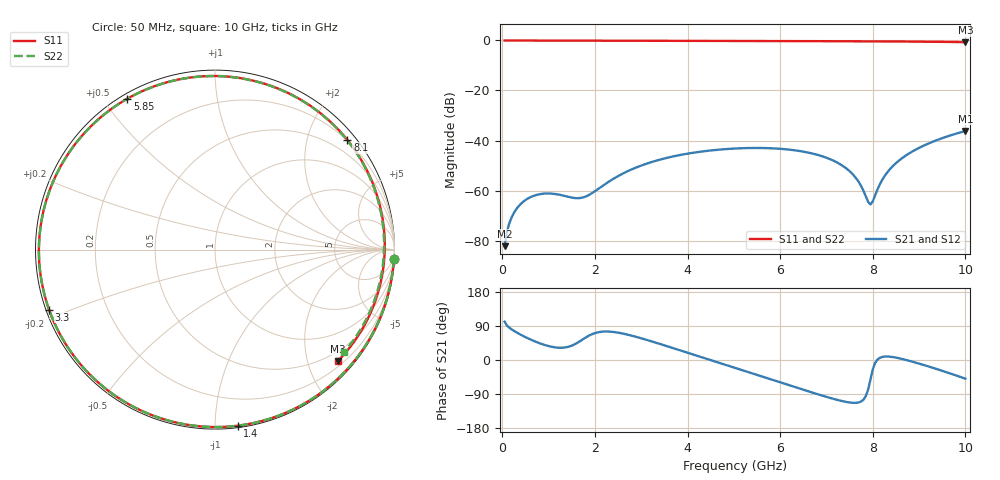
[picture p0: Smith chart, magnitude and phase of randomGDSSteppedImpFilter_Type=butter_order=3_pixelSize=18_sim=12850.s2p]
! freq	dB(S11)	phase(S11)	dB(S12)	phase(S12)
!  dB(S21)	phase(S21)	dB(S22)	phase(S22)
!S-par simulation data
#  GHz  S  DB  R 50
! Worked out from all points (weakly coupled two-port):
!   200 points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, 50 MHz to 10 GHz, reference 50 ohm
!   highest |S21| = -36.21 dB at 10 GHz (marker M1); lowest = -82.2 dB at 50 MHz (marker M2)
!   lowest |S11| = -0.7 dB at 10 GHz (marker M3), VSWR 25.34, Z = 15.1 - j128 ohm
!   |S11| at or under -10 dB: nowhere
!   |S22| runs from -0.7 to 0.0 dB; largest |S21 - S12| = 0
!   S11 on the Smith chart (normalised r, x): 50 MHz: 0, -37; 1.4 GHz: 0.01, -1.14; 3.3 GHz: 0.01, -0.18; 5.85 GHz: 0.02, +0.58; 8.1 GHz: 0.19, +2.76; 10 GHz: 0.30, -2.56
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0.05  -0.01 -3.1  -82.21 101.3  -82.21 101.3  -0.01 -3.0
0.15  -0.02 -9.5  -73.15 85.4  -73.15 85.4  -0.02 -9.1
0.25  -0.03 -15.9  -68.93 77.0  -68.93 77.0  -0.03 -15.3
0.5  -0.05 -31.6  -63.78 60.4  -63.78 60.4  -0.04 -30.4
0.9  -0.07 -55.5  -61.21 40.2  -61.21 40.2  -0.07 -53.6
1.4  -0.09 -82.6  -62.37 34.1  -62.37 34.1  -0.09 -80.1
1.75  -0.11 -99.7  -62.71 55.3  -62.71 55.3  -0.10 -96.9
2.5  -0.13 -131.4  -54.22 72.2  -54.22 72.2  -0.13 -128.6
3.3  -0.15 -160.1  -48.17 46.3  -48.17 46.3  -0.15 -157.6
3.4  -0.15 -163.4  -47.65 42.5  -47.65 42.5  -0.15 -161.0
4.2  -0.17 171.1  -44.66 11.4  -44.66 11.4  -0.17 173.2
5.05  -0.21 145.1  -43.16 -21.7  -43.16 -21.7  -0.21 146.9
5.85  -0.24 120.1  -43.13 -53.0  -43.13 -53.0  -0.24 121.9
6.7  -0.29 91.9  -45.21 -86.2  -45.21 -86.2  -0.29 94.0
7.5  -0.33 63.1  -52.25 -112.1  -52.25 -112.1  -0.34 65.8
7.7  -0.34 55.4  -56.66 -111.8  -56.66 -111.8  -0.35 58.3
7.95  -0.36 45.6  -65.53 -51.5  -65.53 -51.5  -0.37 48.8
8.1  -0.38 39.6  -59.60 0.9  -59.60 0.9  -0.38 43.0
8.35  -0.40 29.5  -51.89 9.0  -51.89 9.0  -0.41 33.1
8.7  -0.44 14.8  -46.16 0.7  -46.16 0.7  -0.45 18.8
9.2  -0.51 -6.7  -41.21 -16.9  -41.21 -16.9  -0.53 -2.5
10  -0.69 -42.2  -36.21 -49.3  -36.21 -49.3  -0.74 -38.3
